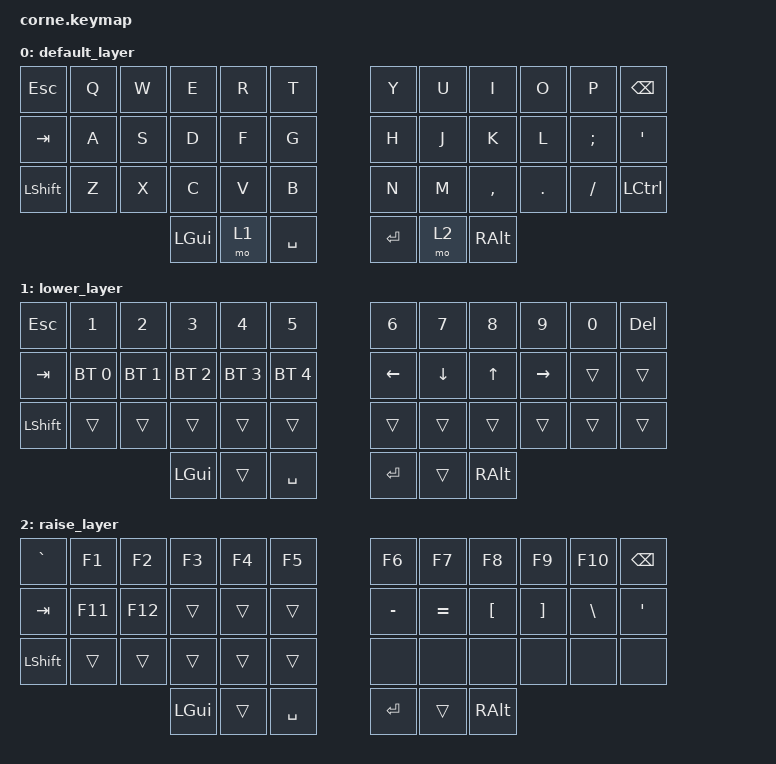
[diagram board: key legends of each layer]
/*
 * Copyright (c) 2020 The ZMK Contributors
 *
 * SPDX-License-Identifier: MIT
 */

#include <behaviors.dtsi>
#include <dt-bindings/zmk/bt.h>
#include <dt-bindings/zmk/keys.h>

/ {
    keymap {
        compatible = "zmk,keymap";

        default_layer {
            // -----------------------------------------------------------------------------------------
            // |  TAB |  Q  |  W  |  E  |  R  |  T  |   |  Y  |  U   |  I  |  O  |  P  | BSPC |
            // | CTRL |  A  |  S  |  D  |  F  |  G  |   |  H  |  J   |  K  |  L  |  ;  |  '   |
            // | SHFT |  Z  |  X  |  C  |  V  |  B  |   |  N  |  M   |  ,  |  .  |  /  | ESC  |
            //                    | GUI | LWR | SPC |   | ENT | RSE  | ALT |

            bindings = <
&kp ESC    &kp Q  &kp W  &kp E     &kp R  &kp T        &kp Y    &kp U  &kp I      &kp O    &kp P     &kp BSPC
&kp TAB    &kp A  &kp S  &kp D     &kp F  &kp G        &kp H    &kp J  &kp K      &kp L    &kp SEMI  &kp SQT
&kp LSHFT  &kp Z  &kp X  &kp C     &kp V  &kp B        &kp N    &kp M  &kp COMMA  &kp DOT  &kp FSLH  &kp LEFT_CONTROL
                         &kp LGUI  &mo 1  &kp SPACE    &kp RET  &mo 2  &kp RALT
            >;
        };

        lower_layer {
            // -----------------------------------------------------------------------------------------
            // |  TAB |  1  |  2  |  3  |  4  |  5  |   |  6  |  7  |  8  |  9  |  0  | BSPC |
            // | BTCLR| BT1 | BT2 | BT3 | BT4 | BT5 |   | LFT | DWN |  UP | RGT |     |      |
            // | SHFT |     |     |     |     |     |   |     |     |     |     |     |      |
            //                    | GUI |     | SPC |   | ENT |     | ALT |

            bindings = <
&kp ESC    &kp N1        &kp N2        &kp N3        &kp N4        &kp N5          &kp N6    &kp N7    &kp N8    &kp N9     &kp N0  &kp DEL
&kp TAB    &bt BT_SEL 0  &bt BT_SEL 1  &bt BT_SEL 2  &bt BT_SEL 3  &bt BT_SEL 4    &kp LEFT  &kp DOWN  &kp UP    &kp RIGHT  &trans  &trans
&kp LSHFT  &trans        &trans        &trans        &trans        &trans          &trans    &trans    &trans    &trans     &trans  &trans
                                       &kp LGUI      &trans        &kp SPACE       &kp RET   &trans    &kp RALT
            >;
        };

        raise_layer {
            // -----------------------------------------------------------------------------------------
            // |  TAB |  !  |  @  |  #  |  $  |  %  |   |  ^  |  &  |  *  |  (  |  )  | BSPC |
            // | CTRL |     |     |     |     |     |   |  -  |  =  |  [  |  ]  |  \  |  `   |
            // | SHFT |     |     |     |     |     |   |  _  |  +  |  {  |  }  | "|" |  ~   |
            //                    | GUI |     | SPC |   | ENT |     | ALT |

            bindings = <
&kp GRAVE  &kp F1   &kp F2   &kp F3    &kp F4  &kp F5       &kp F6     &kp F7     &kp F8    &kp F9    &kp F10   &kp BSPC
&kp TAB    &kp F11  &kp F12  &trans    &trans  &trans       &kp MINUS  &kp EQUAL  &kp LBKT  &kp RBKT  &kp BSLH  &kp SQT
&kp LSHFT  &trans   &trans   &trans    &trans  &trans       &none      &none      &none     &none     &none     &none
                             &kp LGUI  &trans  &kp SPACE    &kp RET    &trans     &kp RALT
            >;
        };
    };
};
